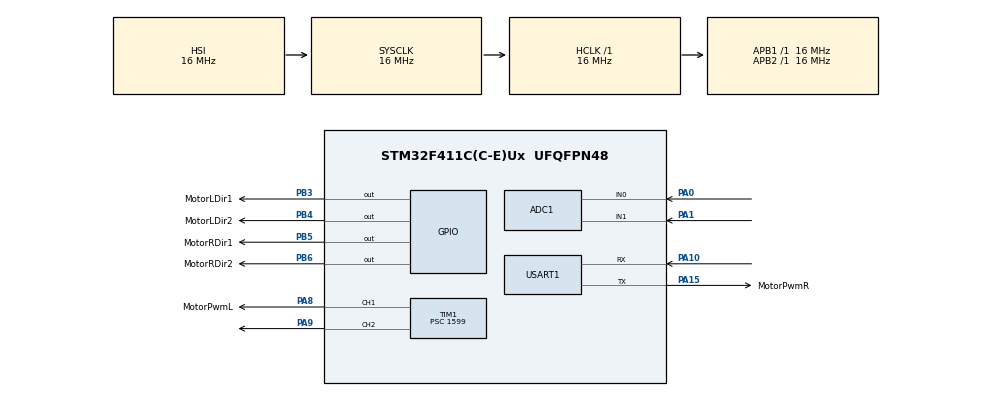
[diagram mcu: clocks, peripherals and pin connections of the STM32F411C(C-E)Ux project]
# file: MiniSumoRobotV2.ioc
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ADC1.Channel-0\#ChannelRegularConversion=ADC_CHANNEL_0
ADC1.Channel-1\#ChannelRegularConversion=ADC_CHANNEL_1
ADC1.ClockPrescaler=ADC_CLOCK_SYNC_PCLK_DIV4
ADC1.ContinuousConvMode=ENABLE
ADC1.DMAContinuousRequests=ENABLE
ADC1.NbrOfConversion=2
ADC1.NbrOfConversionFlag=1
ADC1.Rank-0\#ChannelRegularConversion=1
ADC1.Rank-1\#ChannelRegularConversion=2
ADC1.SamplingTime-0\#ChannelRegularConversion=ADC_SAMPLETIME_3CYCLES
ADC1.SamplingTime-1\#ChannelRegularConversion=ADC_SAMPLETIME_3CYCLES
ADC1.ScanConvMode=ENABLE
ADC1.master=1
Dma.ADC1.0.Direction=DMA_PERIPH_TO_MEMORY
Dma.ADC1.0.FIFOMode=DMA_FIFOMODE_DISABLE
Dma.ADC1.0.Instance=DMA2_Stream0
Dma.ADC1.0.MemDataAlignment=DMA_MDATAALIGN_HALFWORD
Dma.ADC1.0.MemInc=DMA_MINC_ENABLE
Dma.ADC1.0.Mode=DMA_CIRCULAR
Dma.ADC1.0.PeriphDataAlignment=DMA_PDATAALIGN_HALFWORD
Dma.ADC1.0.PeriphInc=DMA_PINC_DISABLE
Dma.ADC1.0.Priority=DMA_PRIORITY_LOW
Dma.Request0=ADC1
Mcu.Family=STM32F4
Mcu.Name=STM32F411C(C-E)Ux
Mcu.Package=UFQFPN48
NVIC.DMA2_Stream0_IRQn=true\:0\:0\:false\:false\:true\:false\:true\:true
NVIC.PriorityGroup=NVIC_PRIORITYGROUP_4
PA0-WKUP.Signal=ADCx_IN0
PA1.Signal=ADCx_IN1
PA10.Mode=Asynchronous
PA10.Signal=USART1_RX
PA13.Mode=Serial_Wire
PA13.Signal=SYS_JTMS-SWDIO
PA14.Mode=Serial_Wire
PA14.Signal=SYS_JTCK-SWCLK
PA15.GPIO_Label=MotorPwmR
PA15.Mode=Asynchronous
PA15.Signal=USART1_TX
PA8.GPIO_Label=MotorPwmL
PA8.Signal=S_TIM1_CH1
PA9.Signal=S_TIM1_CH2
PB3.GPIO_Label=MotorLDir1
PB3.Signal=GPIO_Output
PB4.GPIO_Label=MotorLDir2
PB4.Signal=GPIO_Output
PB5.GPIO_Label=MotorRDir1
PB5.Signal=GPIO_Output
PB6.GPIO_Label=MotorRDir2
PB6.Signal=GPIO_Output
PC14-OSC32_IN.Mode=LSE-External-Oscillator
PC14-OSC32_IN.Signal=RCC_OSC32_IN
PC15-OSC32_OUT.Mode=LSE-External-Oscillator
PC15-OSC32_OUT.Signal=RCC_OSC32_OUT
PH0\ -\ OSC_IN.Mode=HSE-External-Oscillator
PH0\ -\ OSC_IN.Signal=RCC_OSC_IN
PH1\ -\ OSC_OUT.Mode=HSE-External-Oscillator
PH1\ -\ OSC_OUT.Signal=RCC_OSC_OUT
ProjectManager.HeapSize=0x200
ProjectManager.StackSize=0x400
ProjectManager.TargetToolchain=STM32CubeIDE
RCC.AHBFreq_Value=16000000
RCC.APB1Freq_Value=16000000
RCC.APB2Freq_Value=16000000
RCC.CortexFreq_Value=16000000
RCC.HSE_VALUE=25000000
RCC.HSI_VALUE=16000000
RCC.SYSCLKFreq_VALUE=16000000
RCC.VCOOutputFreq_Value=192000000
SH.ADCx_IN0.0=ADC1_IN0,IN0
SH.ADCx_IN1.0=ADC1_IN1,IN1
SH.S_TIM1_CH1.0=TIM1_CH1,PWM Generation1 CH1
SH.S_TIM1_CH2.0=TIM1_CH2,PWM Generation2 CH2
TIM1.Channel-PWM\ Generation1\ CH1=TIM_CHANNEL_1
TIM1.Channel-PWM\ Generation2\ CH2=TIM_CHANNEL_2
TIM1.Period=99
TIM1.Prescaler=1599
USART1.VirtualMode=VM_ASYNC
board=custom

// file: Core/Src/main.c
/* USER CODE BEGIN Header */
/**
  ******************************************************************************
  * @file           : main.c
  * @brief          : Main program body
  ******************************************************************************
  * @attention
  *
  * Copyright (c) 2025 STMicroelectronics.
  * All rights reserved.
  *
  * This software is licensed under terms that can be found in the LICENSE file
  * in the root directory of this software component.
  * If no LICENSE file comes with this software, it is provided AS-IS.
  *
  ******************************************************************************
  */
/* USER CODE END Header */
#include "main.h"
#include "adc.h"
#include "dma.h"
#include "tim.h"
#include "usart.h"
#include "gpio.h"

/* USER CODE BEGIN Includes */
#include "motor_simple.h"
#include "sumo_strategy.h"

/* USER CODE END Includes */

/* USER CODE BEGIN PV */
uint16_t AdcValues[3][2];
uint8_t Mean = 3;
uint16_t MeanL = 0, MeanR = 0;

uint16_t *SharpPointerL;
uint16_t *SharpPointerR;
//sensors
float SharpVoltageL;
float FilteredVoltageL = 0;

//MotorLVariablesR
Motor_t MotorR;
uint16_t MotorPwmR;

//MotorLVariablesL
Motor_t MotorL;
uint16_t MotorPwmL;

//Sumo Strategy
SumoMotors_t SumoMotors;
SumoSensors_t SumoSensors;

SumoState_t SumoState;
/* USER CODE END PV */

void SystemClock_Config(void);
/* USER CODE BEGIN PFP */
void MeanValue(uint16_t Values[3][2], uint8_t Mean, uint16_t *MeanL, uint16_t *MeanR);

/* USER CODE END PFP */

int main(void)
{

  /* MCU Configuration--------------------------------------------------------*/

  /* Reset of all peripherals, Initializes the Flash interface and the Systick. */
  HAL_Init();

  /* USER CODE BEGIN Init */
//initialize sensors
  //SharpPointerL = &AdcValues[0];
  //SharpPointerR = &AdcValues[1];

//initialize motors
Motor_Init(&MotorR, &htim1, TIM_CHANNEL_1, MotorPwmL, MotorRDir1_GPIO_Port, MotorRDir1_Pin, MotorRDir2_GPIO_Port, MotorRDir2_Pin);
Motor_Init(&MotorL, &htim1, TIM_CHANNEL_2, MotorPwmR, MotorLDir1_GPIO_Port, MotorLDir1_Pin, MotorLDir2_GPIO_Port, MotorLDir2_Pin);

//initialize motors to streategy
Sumo_InitMotors(&SumoMotors, &MotorL, &MotorR);
//initialize sensors to sumo strategy
Sumo_InitDistanceSensors(&SumoSensors, &MeanL , &MeanR);

  /* USER CODE END Init */

  /* Configure the system clock */
  SystemClock_Config();

  /* Initialize all configured peripherals */
  MX_GPIO_Init();
  MX_DMA_Init();
  MX_ADC1_Init();
  MX_USART1_UART_Init();
  MX_TIM1_Init();
  /* USER CODE BEGIN 2 */
  HAL_ADC_Start_DMA(&hadc1, (uint32_t *) AdcValues, 3 * 2);

  /* USER CODE END 2 */

  /* Infinite loop */
  /* USER CODE BEGIN WHILE */
  //HAL_Delay(50);
  while (1)
  {

	  //mean value from adc values
	  MeanValue(AdcValues, Mean, &MeanL, &MeanR);
	  /*
	  uint32_t MeanXtmp = 0;
	  uint32_t MeanYtmp = 0;
	  	  for(uint8_t i = 0; i < 3; i++)
	  	  {
	  		  MeanXtmp += AdcValues[i][0];
	  		  MeanYtmp += AdcValues[i][1];
	  	  }
	  MeanL = MeanXtmp / 3;
	  MeanR = MeanYtmp / 3;
	*/

	  //Calculating voltage from mean value from adc sensors
	 //AdcToVoltage(&MeanL, &SharpVoltageL);
	 //IIRFilter(0.3, SharpVoltageL, &FilteredVoltageL);

	  //Updating sensors parameters
	  Sumo_UpdateSensors(&SumoSensors);
	  //Updating state of the sumo robot
	  Sumo_UpdateState(&SumoState, &SumoMotors, &SumoSensors);

	  /*
	  //testing motors
	  Motor_SetRideParameters(&MotorR, 50, 1);
	  Motor_SetRideParameters(&MotorL, 50, 0);
	  Motor_Ride(&MotorR);
	  Motor_Ride(&MotorL);
	  */

    /* USER CODE END WHILE */

  }
}

void SystemClock_Config(void)
{
  RCC_OscInitTypeDef RCC_OscInitStruct = {0};
  RCC_ClkInitTypeDef RCC_ClkInitStruct = {0};

  /** Configure the main internal regulator output voltage
  */
  __HAL_RCC_PWR_CLK_ENABLE();
  __HAL_PWR_VOLTAGESCALING_CONFIG(PWR_REGULATOR_VOLTAGE_SCALE1);

  /** Initializes the RCC Oscillators according to the specified parameters
  * in the RCC_OscInitTypeDef structure.
  */
  RCC_OscInitStruct.OscillatorType = RCC_OSCILLATORTYPE_HSI;
  RCC_OscInitStruct.HSIState = RCC_HSI_ON;
  RCC_OscInitStruct.HSICalibrationValue = RCC_HSICALIBRATION_DEFAULT;
  RCC_OscInitStruct.PLL.PLLState = RCC_PLL_NONE;
  if (HAL_RCC_OscConfig(&RCC_OscInitStruct) != HAL_OK)
  {
    Error_Handler();
  }

  /** Initializes the CPU, AHB and APB buses clocks
  */
  RCC_ClkInitStruct.ClockType = RCC_CLOCKTYPE_HCLK|RCC_CLOCKTYPE_SYSCLK
                              |RCC_CLOCKTYPE_PCLK1|RCC_CLOCKTYPE_PCLK2;
  RCC_ClkInitStruct.SYSCLKSource = RCC_SYSCLKSOURCE_HSI;
  RCC_ClkInitStruct.AHBCLKDivider = RCC_SYSCLK_DIV1;
  RCC_ClkInitStruct.APB1CLKDivider = RCC_HCLK_DIV1;
  RCC_ClkInitStruct.APB2CLKDivider = RCC_HCLK_DIV1;

  if (HAL_RCC_ClockConfig(&RCC_ClkInitStruct, FLASH_LATENCY_0) != HAL_OK)
  {
    Error_Handler();
  }
}

/* USER CODE BEGIN 4 */
void MeanValue(uint16_t Values[3][2], uint8_t Mean, uint16_t *MeanL, uint16_t *MeanR)
{
    uint32_t TmpL = 0, TmpR = 0; // używamy 32-bit aby uniknąć przepełnienia
    uint8_t i;

    for(i = 0; i < Mean; i++)
    {
        TmpL += Values[i][0];  // lewy czujnik
        TmpR += Values[i][1];  // prawy czujnik
    }
    *MeanL = TmpL / Mean;
    *MeanR = TmpR / Mean;
}

/* USER CODE END 4 */

void Error_Handler(void)
{
  __disable_irq();
  while (1)
  {
  }
}
